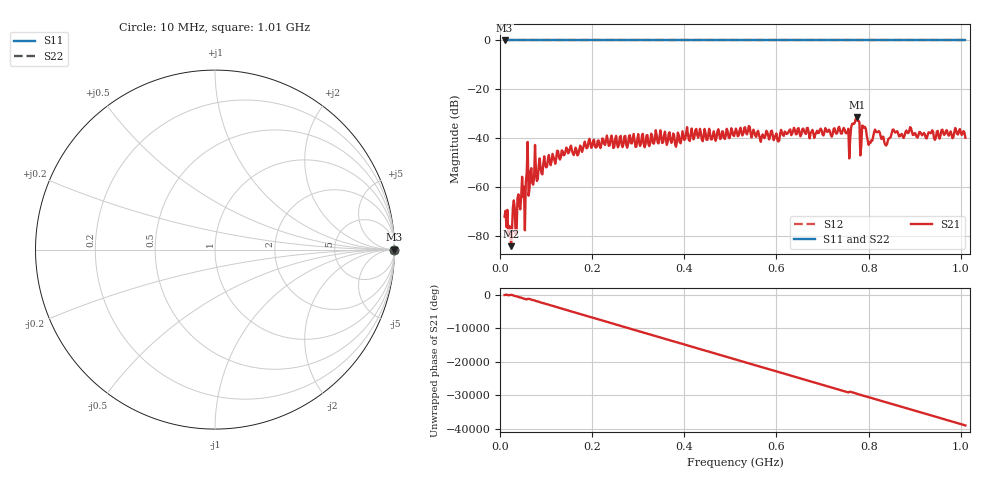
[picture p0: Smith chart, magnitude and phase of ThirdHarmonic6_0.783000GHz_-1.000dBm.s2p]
! 8/16/2025 2:08:39 AM
! C:\ANRITSUVNA\TEMP\TEMP.S2P
! CHANNEL.1
! TR.MEASUREMENT
! RAW.DATA
! RF.CORRECTION.OFF
! AVERAGING.OFF
! IF.BANDWIDTH: 5KHZ
! SWEEPTYPE:  FREQ.SWEEP(Linear)
! Reference Plane Port Info
! PORT:  PORT1  PORT2
! DISTANCE:  0  m  0  m
! TIME:  0  s  0  s
! PHASE.OFFSET:  0  deg.  0  deg.
! LOSS:  0  dB  0  dB
! REF.LOSS:  0  dB  0  dB
! REF.FREQ:  0  Hz  0  Hz
! Power Info
! POWER:  -20  dBm  -20  dBm
! EFF.POWER:  -20  dBm  -20  dBm
! SOURCE.ATTEN:  0  dB  0  dB
! TEST.ATTEN:  0  dB  0  dB
# GHZ S RI R 50.0
! FREQ.GHZ  S11RE  S11IM  S21RE  S21IM  S12RE  S12IM  S22RE  S22IM
!; PortSelection: Port_12
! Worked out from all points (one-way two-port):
!   501 points, 10 MHz to 1.01 GHz, reference 50 ohm
!   highest |S21| = -31.30 dB at 774 MHz (marker M1); lowest = -84.2 dB at 24 MHz (marker M2)
!   lowest |S11| = 0.0 dB at 10 MHz (marker M3)
!   |S11| at or under -10 dB: nowhere
!   |S22| runs from 0.0 to 0.0 dB; largest |S21 - S12| = 1
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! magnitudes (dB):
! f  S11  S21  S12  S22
! 10 MHz  0.0  -72.0  0.0  0.0
! 24 MHz  0.0  -84.2  0.0  0.0
! 38 MHz  0.0  -64.5  0.0  0.0
! 44 MHz  0.0  -69.1  0.0  0.0
! 54 MHz  0.0  -77.7  0.0  0.0
! 62 MHz  0.0  -63.5  0.0  0.0
! 66 MHz  0.0  -53.7  0.0  0.0
! 110 MHz  0.0  -51.0  0.0  0.0
! 178 MHz  0.0  -45.6  0.0  0.0
! 344 MHz  0.0  -42.1  0.0  0.0
! 510 MHz  0.0  -37.5  0.0  0.0
! 678 MHz  0.0  -36.6  0.0  0.0
! 748 MHz  0.0  -36.5  0.0  0.0
! 756 MHz  0.0  -36.1  0.0  0.0
! 774 MHz  0.0  -31.3  0.0  0.0
! 780 MHz  0.0  -33.5  0.0  0.0
! 790 MHz  0.0  -35.7  0.0  0.0
! 802 MHz  0.0  -41.6  0.0  0.0
! 818 MHz  0.0  -37.5  0.0  0.0
! 844 MHz  0.0  -40.1  0.0  0.0
! 856 MHz  0.0  -37.2  0.0  0.0
! 1.01 GHz  0.0  -39.8  0.0  0.0
